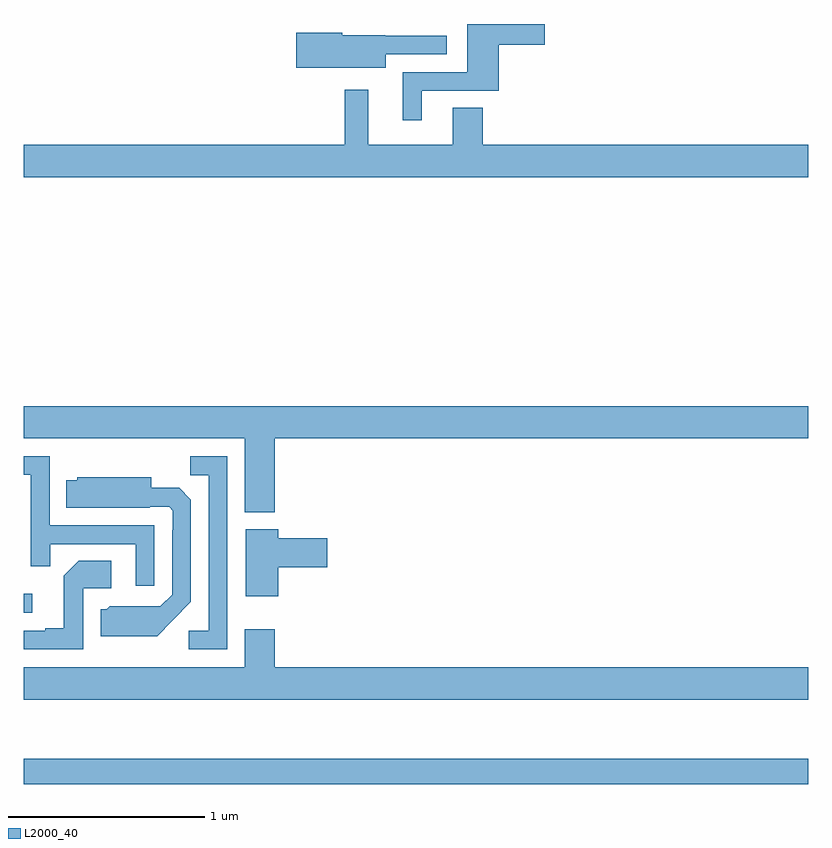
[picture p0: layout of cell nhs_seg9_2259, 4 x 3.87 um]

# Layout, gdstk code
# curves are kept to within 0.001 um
import gdstk
lib = gdstk.Library(unit=1e-6, precision=1e-09)
def R(c, l, rs):  # rectangles x0, y0, x1, y1
    for r in rs: c.add(gdstk.rectangle(r[:2], r[2:], *l))
def P(c, l, *ps):  # polygons
    for p in ps: c.add(gdstk.Polygon(p, *l))
L2000_40 = (2000, 40)

nhs_seg9_2259 = lib.new_cell('nhs_seg9_2259')
R(nhs_seg9_2259, L2000_40, [(239,1226.626,243,1226.755), (239,1227.498,239.044,1227.595)])
P(nhs_seg9_2259, L2000_40, [(241.03,1230.159),(241.421,1230.159),(241.421,1230.395),(241.657,1230.395),(241.657,1230.5),(241.262,1230.5),(241.262,1230.255),(240.932,1230.255),(240.932,1230.009),(241.03,1230.009)],
  [(240.847,1230.345),(241.156,1230.345),(241.156,1230.441),(240.843,1230.441),(240.843,1230.442),(240.624,1230.442),(240.624,1230.455),(240.39,1230.455),(240.39,1230.277),(240.847,1230.277)],
  [(243,1229.884),(241.34,1229.884),(241.34,1230.074),(241.187,1230.074),(241.187,1229.884),(240.757,1229.884),(240.757,1230.166),(240.636,1230.166),(240.636,1229.884),(239,1229.884),(239,1229.72),(243,1229.72)],
  [(240.281,1228.388),(243,1228.388),(243,1228.552),(239,1228.552),(239,1228.388),(240.128,1228.388),(240.128,1228.01),(240.281,1228.01)],
  [(240.039,1228.296),(239.848,1228.296),(239.848,1228.201),(239.943,1228.201),(239.943,1227.408),(239.841,1227.408),(239.841,1227.312),(240.039,1227.312)],
  [(239.667,1227.945),(239.133,1227.945),(239.133,1228.296),(239,1228.296),(239,1228.203),(239.037,1228.203),(239.037,1227.736),(239.135,1227.736),(239.135,1227.849),(239.571,1227.849),(239.571,1227.636),(239.667,1227.636)],
  [(239.761,1227.461),(239.853,1227.554),(239.853,1228.076),(239.794,1228.135),(239.65,1228.135),(239.65,1228.189),(239.274,1228.189),(239.274,1228.174),(239.218,1228.174),(239.218,1228.034),(239.642,1228.034),(239.642,1228.038),(239.742,1228.038),(239.76,1228.02),(239.76,1227.92),(239.757,1227.92),(239.757,1227.591),(239.697,1227.531),(239.44,1227.532),(239.424,1227.516),(239.393,1227.516),(239.393,1227.38),(239.681,1227.38)],
  [(240.298,1227.731),(240.547,1227.731),(240.547,1227.878),(240.298,1227.878),(240.298,1227.925),(240.131,1227.925),(240.131,1227.582),(240.298,1227.582)],
  [(239.304,1227.624),(239.446,1227.624),(239.446,1227.764),(239.281,1227.764),(239.205,1227.688),(239.205,1227.421),(239.111,1227.421),(239.111,1227.408),(239,1227.408),(239,1227.312),(239.304,1227.312)],
  [(243,1227.22),(240.281,1227.22),(240.281,1227.415),(240.128,1227.415),(240.128,1227.22),(239,1227.22),(239,1227.056),(243,1227.056)])

lib.write_gds('nhs_seg9_2259.gds')
